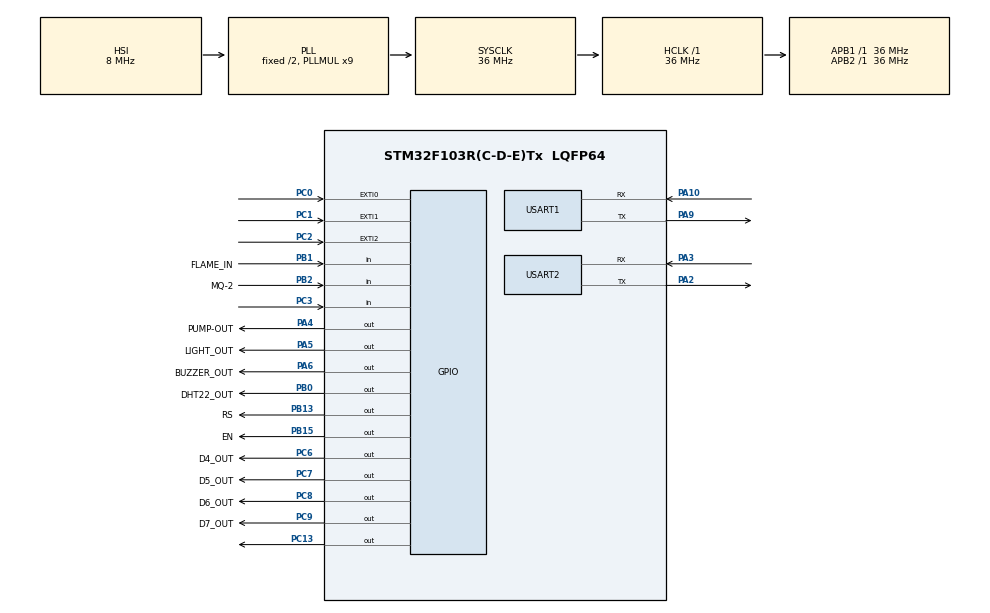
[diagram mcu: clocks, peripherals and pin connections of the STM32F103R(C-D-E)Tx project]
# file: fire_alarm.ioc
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Mcu.Family=STM32F1
Mcu.Name=STM32F103R(C-D-E)Tx
Mcu.Package=LQFP64
NVIC.EXTI0_IRQn=true\:0\:2\:false\:false\:true\:true\:true\:true
NVIC.EXTI1_IRQn=true\:0\:1\:false\:false\:true\:true\:true\:true
NVIC.EXTI2_IRQn=true\:0\:0\:false\:false\:true\:true\:true\:true
NVIC.PriorityGroup=NVIC_PRIORITYGROUP_2
NVIC.TIM4_IRQn=true\:3\:0\:true\:false\:true\:false\:true\:true
NVIC.TimeBase=TIM4_IRQn
NVIC.TimeBaseIP=TIM4
NVIC.USART1_IRQn=true\:0\:0\:false\:false\:true\:true\:true\:true
NVIC.USART2_IRQn=true\:0\:0\:false\:false\:true\:true\:true\:true
PA10.Mode=Asynchronous
PA10.Signal=USART1_RX
PA13.Mode=Serial_Wire
PA13.Signal=SYS_JTMS-SWDIO
PA14.Mode=Serial_Wire
PA14.Signal=SYS_JTCK-SWCLK
PA2.Mode=Asynchronous
PA2.Signal=USART2_TX
PA3.Mode=Asynchronous
PA3.Signal=USART2_RX
PA4.GPIO_Label=PUMP-OUT
PA4.PinState=GPIO_PIN_SET
PA4.Signal=GPIO_Output
PA5.GPIO_Label=LIGHT_OUT
PA5.Signal=GPIO_Output
PA6.GPIO_Label=BUZZER_OUT
PA6.Signal=GPIO_Output
PA9.Mode=Asynchronous
PA9.Signal=USART1_TX
PB0.GPIO_Label=DHT22_OUT
PB0.Signal=GPIO_Output
PB1.GPIO_Label=FLAME_IN
PB1.GPIO_PuPd=GPIO_PULLUP
PB1.Signal=GPIO_Input
PB13.GPIO_Label=RS
PB13.Signal=GPIO_Output
PB15.GPIO_Label=EN
PB15.Signal=GPIO_Output
PB2.GPIO_Label=MQ-2
PB2.GPIO_PuPd=GPIO_PULLUP
PB2.Signal=GPIO_Input
PC0.GPIO_ModeDefaultEXTI=GPIO_MODE_IT_FALLING
PC0.GPIO_PuPd=GPIO_PULLUP
PC0.Signal=GPXTI0
PC1.GPIO_ModeDefaultEXTI=GPIO_MODE_IT_FALLING
PC1.GPIO_PuPd=GPIO_PULLUP
PC1.Signal=GPXTI1
PC13-TAMPER-RTC.Signal=GPIO_Output
PC2.GPIO_ModeDefaultEXTI=GPIO_MODE_IT_FALLING
PC2.GPIO_PuPd=GPIO_PULLUP
PC2.Signal=GPXTI2
PC3.GPIO_PuPd=GPIO_PULLUP
PC3.Signal=GPIO_Input
PC6.GPIO_Label=D4_OUT
PC6.Signal=GPIO_Output
PC7.GPIO_Label=D5_OUT
PC7.Signal=GPIO_Output
PC8.GPIO_Label=D6_OUT
PC8.Signal=GPIO_Output
PC9.GPIO_Label=D7_OUT
PC9.Signal=GPIO_Output
PD0-OSC_IN.Mode=HSE-External-Oscillator
PD0-OSC_IN.Signal=RCC_OSC_IN
PD1-OSC_OUT.Mode=HSE-External-Oscillator
PD1-OSC_OUT.Signal=RCC_OSC_OUT
ProjectManager.HeapSize=0x200
ProjectManager.StackSize=0x400
ProjectManager.TargetToolchain=STM32CubeIDE
RCC.AHBFreq_Value=36000000
RCC.APB1Freq_Value=36000000
RCC.APB1TimFreq_Value=36000000
RCC.APB2Freq_Value=36000000
RCC.APB2TimFreq_Value=36000000
RCC.HCLKFreq_Value=36000000
RCC.PLLMUL=RCC_PLL_MUL9
RCC.SYSCLKFreq_VALUE=36000000
RCC.SYSCLKSource=RCC_SYSCLKSOURCE_PLLCLK
RCC.USBFreq_Value=36000000
TIM1.Period=0xffff-1
TIM1.Prescaler=36-1
TIM2.Period=0xffff-1
TIM2.Prescaler=3600-1
USART1.VirtualMode=VM_ASYNC
USART2.VirtualMode=VM_ASYNC
VP_SYS_VS_tim4.Mode=TIM4
VP_TIM1_VS_ClockSourceINT.Mode=Internal
VP_TIM2_VS_ClockSourceINT.Mode=Internal
board=custom

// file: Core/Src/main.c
/* USER CODE BEGIN Header */
/**
  ******************************************************************************
  * @file           : main.c
  * @brief          : Main program body
  ******************************************************************************
  * @attention
  *
  * Copyright (c) 2025 STMicroelectronics.
  * All rights reserved.
  *
  * This software is licensed under terms that can be found in the LICENSE file
  * in the root directory of this software component.
  * If no LICENSE file comes with this software, it is provided AS-IS.
  *
  ******************************************************************************
  */
/* USER CODE END Header */
#include "main.h"

TIM_HandleTypeDef htim1;
TIM_HandleTypeDef htim2;

UART_HandleTypeDef huart1;
UART_HandleTypeDef huart2;

/* USER CODE BEGIN PV */
extern Lcd_HandleTypeDef lcd;
/* USER CODE END PV */

void SystemClock_Config(void);
static void MX_GPIO_Init(void);
static void MX_TIM1_Init(void);
static void MX_TIM2_Init(void);
static void MX_USART1_UART_Init(void);
static void MX_USART2_UART_Init(void);

int main(void)
{

  /* MCU Configuration--------------------------------------------------------*/

  /* Reset of all peripherals, Initializes the Flash interface and the Systick. */
  HAL_Init();

  /* Configure the system clock */
  SystemClock_Config();

  /* Initialize all configured peripherals */
  MX_GPIO_Init();
  MX_TIM1_Init();
  MX_TIM2_Init();
  MX_USART1_UART_Init();
  MX_USART2_UART_Init();
  /* USER CODE BEGIN 2 */
	Delay_Init(&htim1, &htim2);
	flame_Init(GPIOB, GPIO_PIN_1);
	mq2_Init(GPIOB, GPIO_PIN_2);
	DHT22_GetData(&Temperature, &Humidity);
	Lcd_PortType ports[] = { GPIOC, GPIOC, GPIOC, GPIOC }; //Lcd_PinType pins[] = {D4_Pin, D5_Pin, D6_Pin, D7_Pin};
	Lcd_PinType pins[] = { GPIO_PIN_6, GPIO_PIN_7, GPIO_PIN_8, GPIO_PIN_9 };
	lcd = Lcd_create(ports, pins, GPIOB, GPIO_PIN_13, GPIOB, GPIO_PIN_15,
			LCD_4_BIT_MODE); //Lcd_create(ports, pins, RS_GPIO_Port, RS_Pin, EN_GPIO_Port, EN_Pin, LCD_4_BIT_MODE);
	int simcheck = SIM_Check(&huart1);
	uint8_t status = 0;
	uint8_t status_1 = 0;
  /* USER CODE END 2 */

  /* Infinite loop */
  while (1)
  {

    /* USER CODE BEGIN 3 */
		DHT22_GetData(&Temperature, &Humidity);
		switch (status) {
		case 0:
			// Function 1: display temp&&humid and sim_connect
			Display_Temp(Temperature);
			Display_Rh(Humidity);
			Display_Sim(simcheck);
		case 1:
			// Function 2: display lcd warning
			Lcd_warning(Temperature, &status, &status_1);
			break;
		}
		HAL_GPIO_TogglePin(GPIOC, GPIO_PIN_13);
		HAL_Delay(1000);
  }
  /* USER CODE END 3 */
}

void SystemClock_Config(void)
{
  RCC_OscInitTypeDef RCC_OscInitStruct = {0};
  RCC_ClkInitTypeDef RCC_ClkInitStruct = {0};

  /** Initializes the RCC Oscillators according to the specified parameters
  * in the RCC_OscInitTypeDef structure.
  */
  RCC_OscInitStruct.OscillatorType = RCC_OSCILLATORTYPE_HSI;
  RCC_OscInitStruct.HSIState = RCC_HSI_ON;
  RCC_OscInitStruct.HSICalibrationValue = RCC_HSICALIBRATION_DEFAULT;
  RCC_OscInitStruct.PLL.PLLState = RCC_PLL_ON;
  RCC_OscInitStruct.PLL.PLLSource = RCC_PLLSOURCE_HSI_DIV2;
  RCC_OscInitStruct.PLL.PLLMUL = RCC_PLL_MUL9;
  if (HAL_RCC_OscConfig(&RCC_OscInitStruct) != HAL_OK)
  {
    Error_Handler();
  }

  /** Initializes the CPU, AHB and APB buses clocks
  */
  RCC_ClkInitStruct.ClockType = RCC_CLOCKTYPE_HCLK|RCC_CLOCKTYPE_SYSCLK
                              |RCC_CLOCKTYPE_PCLK1|RCC_CLOCKTYPE_PCLK2;
  RCC_ClkInitStruct.SYSCLKSource = RCC_SYSCLKSOURCE_PLLCLK;
  RCC_ClkInitStruct.AHBCLKDivider = RCC_SYSCLK_DIV1;
  RCC_ClkInitStruct.APB1CLKDivider = RCC_HCLK_DIV1;
  RCC_ClkInitStruct.APB2CLKDivider = RCC_HCLK_DIV1;

  if (HAL_RCC_ClockConfig(&RCC_ClkInitStruct, FLASH_LATENCY_1) != HAL_OK)
  {
    Error_Handler();
  }
}

static void MX_TIM1_Init(void)
{

  TIM_ClockConfigTypeDef sClockSourceConfig = {0};
  TIM_MasterConfigTypeDef sMasterConfig = {0};

  htim1.Instance = TIM1;
  htim1.Init.Prescaler = 36-1;
  htim1.Init.CounterMode = TIM_COUNTERMODE_UP;
  htim1.Init.Period = 0xffff-1;
  htim1.Init.ClockDivision = TIM_CLOCKDIVISION_DIV1;
  htim1.Init.RepetitionCounter = 0;
  htim1.Init.AutoReloadPreload = TIM_AUTORELOAD_PRELOAD_DISABLE;
  if (HAL_TIM_Base_Init(&htim1) != HAL_OK)
  {
    Error_Handler();
  }
  sClockSourceConfig.ClockSource = TIM_CLOCKSOURCE_INTERNAL;
  if (HAL_TIM_ConfigClockSource(&htim1, &sClockSourceConfig) != HAL_OK)
  {
    Error_Handler();
  }
  sMasterConfig.MasterOutputTrigger = TIM_TRGO_RESET;
  sMasterConfig.MasterSlaveMode = TIM_MASTERSLAVEMODE_DISABLE;
  if (HAL_TIMEx_MasterConfigSynchronization(&htim1, &sMasterConfig) != HAL_OK)
  {
    Error_Handler();
  }

}

static void MX_TIM2_Init(void)
{

  TIM_ClockConfigTypeDef sClockSourceConfig = {0};
  TIM_MasterConfigTypeDef sMasterConfig = {0};

  htim2.Instance = TIM2;
  htim2.Init.Prescaler = 3600-1;
  htim2.Init.CounterMode = TIM_COUNTERMODE_UP;
  htim2.Init.Period = 0xffff-1;
  htim2.Init.ClockDivision = TIM_CLOCKDIVISION_DIV1;
  htim2.Init.AutoReloadPreload = TIM_AUTORELOAD_PRELOAD_DISABLE;
  if (HAL_TIM_Base_Init(&htim2) != HAL_OK)
  {
    Error_Handler();
  }
  sClockSourceConfig.ClockSource = TIM_CLOCKSOURCE_INTERNAL;
  if (HAL_TIM_ConfigClockSource(&htim2, &sClockSourceConfig) != HAL_OK)
  {
    Error_Handler();
  }
  sMasterConfig.MasterOutputTrigger = TIM_TRGO_RESET;
  sMasterConfig.MasterSlaveMode = TIM_MASTERSLAVEMODE_DISABLE;
  if (HAL_TIMEx_MasterConfigSynchronization(&htim2, &sMasterConfig) != HAL_OK)
  {
    Error_Handler();
  }

}

static void MX_USART1_UART_Init(void)
{

  huart1.Instance = USART1;
  huart1.Init.BaudRate = 115200;
  huart1.Init.WordLength = UART_WORDLENGTH_8B;
  huart1.Init.StopBits = UART_STOPBITS_1;
  huart1.Init.Parity = UART_PARITY_NONE;
  huart1.Init.Mode = UART_MODE_TX_RX;
  huart1.Init.HwFlowCtl = UART_HWCONTROL_NONE;
  huart1.Init.OverSampling = UART_OVERSAMPLING_16;
  if (HAL_UART_Init(&huart1) != HAL_OK)
  {
    Error_Handler();
  }

}

static void MX_USART2_UART_Init(void)
{

  huart2.Instance = USART2;
  huart2.Init.BaudRate = 115200;
  huart2.Init.WordLength = UART_WORDLENGTH_8B;
  huart2.Init.StopBits = UART_STOPBITS_1;
  huart2.Init.Parity = UART_PARITY_NONE;
  huart2.Init.Mode = UART_MODE_TX_RX;
  huart2.Init.HwFlowCtl = UART_HWCONTROL_NONE;
  huart2.Init.OverSampling = UART_OVERSAMPLING_16;
  if (HAL_UART_Init(&huart2) != HAL_OK)
  {
    Error_Handler();
  }

}

static void MX_GPIO_Init(void)
{
  GPIO_InitTypeDef GPIO_InitStruct = {0};

  /* GPIO Ports Clock Enable */
  __HAL_RCC_GPIOC_CLK_ENABLE();
  __HAL_RCC_GPIOD_CLK_ENABLE();
  __HAL_RCC_GPIOA_CLK_ENABLE();
  __HAL_RCC_GPIOB_CLK_ENABLE();

  /*Configure GPIO pin Output Level */
  HAL_GPIO_WritePin(GPIOC, GPIO_PIN_13|D4_OUT_Pin|D5_OUT_Pin|D6_OUT_Pin
                          |D7_OUT_Pin, GPIO_PIN_RESET);

  /*Configure GPIO pin Output Level */
  HAL_GPIO_WritePin(PUMP_OUT_GPIO_Port, PUMP_OUT_Pin, GPIO_PIN_SET);

  /*Configure GPIO pin Output Level */
  HAL_GPIO_WritePin(GPIOA, LIGHT_OUT_Pin|BUZZER_OUT_Pin, GPIO_PIN_RESET);

  /*Configure GPIO pin Output Level */
  HAL_GPIO_WritePin(GPIOB, DHT22_OUT_Pin|RS_Pin|EN_Pin, GPIO_PIN_RESET);

  /*Configure GPIO pins : PC13 D4_OUT_Pin D5_OUT_Pin D6_OUT_Pin
                           D7_OUT_Pin */
  GPIO_InitStruct.Pin = GPIO_PIN_13|D4_OUT_Pin|D5_OUT_Pin|D6_OUT_Pin
                          |D7_OUT_Pin;
  GPIO_InitStruct.Mode = GPIO_MODE_OUTPUT_PP;
  GPIO_InitStruct.Pull = GPIO_NOPULL;
  GPIO_InitStruct.Speed = GPIO_SPEED_FREQ_LOW;
  HAL_GPIO_Init(GPIOC, &GPIO_InitStruct);

  /*Configure GPIO pins : PC0 PC1 PC2 */
  GPIO_InitStruct.Pin = GPIO_PIN_0|GPIO_PIN_1|GPIO_PIN_2;
  GPIO_InitStruct.Mode = GPIO_MODE_IT_FALLING;
  GPIO_InitStruct.Pull = GPIO_PULLUP;
  HAL_GPIO_Init(GPIOC, &GPIO_InitStruct);

  /*Configure GPIO pin : PC3 */
  GPIO_InitStruct.Pin = GPIO_PIN_3;
  GPIO_InitStruct.Mode = GPIO_MODE_INPUT;
  GPIO_InitStruct.Pull = GPIO_PULLUP;
  HAL_GPIO_Init(GPIOC, &GPIO_InitStruct);

  /*Configure GPIO pins : PUMP_OUT_Pin LIGHT_OUT_Pin BUZZER_OUT_Pin */
  GPIO_InitStruct.Pin = PUMP_OUT_Pin|LIGHT_OUT_Pin|BUZZER_OUT_Pin;
  GPIO_InitStruct.Mode = GPIO_MODE_OUTPUT_PP;
  GPIO_InitStruct.Pull = GPIO_NOPULL;
  GPIO_InitStruct.Speed = GPIO_SPEED_FREQ_LOW;
  HAL_GPIO_Init(GPIOA, &GPIO_InitStruct);

  /*Configure GPIO pins : DHT22_OUT_Pin RS_Pin EN_Pin */
  GPIO_InitStruct.Pin = DHT22_OUT_Pin|RS_Pin|EN_Pin;
  GPIO_InitStruct.Mode = GPIO_MODE_OUTPUT_PP;
  GPIO_InitStruct.Pull = GPIO_NOPULL;
  GPIO_InitStruct.Speed = GPIO_SPEED_FREQ_LOW;
  HAL_GPIO_Init(GPIOB, &GPIO_InitStruct);

  /*Configure GPIO pins : FLAME_IN_Pin MQ_2_Pin */
  GPIO_InitStruct.Pin = FLAME_IN_Pin|MQ_2_Pin;
  GPIO_InitStruct.Mode = GPIO_MODE_INPUT;
  GPIO_InitStruct.Pull = GPIO_PULLUP;
  HAL_GPIO_Init(GPIOB, &GPIO_InitStruct);

  /* EXTI interrupt init*/
  HAL_NVIC_SetPriority(EXTI0_IRQn, 0, 2);
  HAL_NVIC_EnableIRQ(EXTI0_IRQn);

  HAL_NVIC_SetPriority(EXTI1_IRQn, 0, 1);
  HAL_NVIC_EnableIRQ(EXTI1_IRQn);

  HAL_NVIC_SetPriority(EXTI2_IRQn, 0, 0);
  HAL_NVIC_EnableIRQ(EXTI2_IRQn);

}

void HAL_TIM_PeriodElapsedCallback(TIM_HandleTypeDef *htim)
{
  if (htim->Instance == TIM4) {
    HAL_IncTick();
  }
}

void Error_Handler(void)
{
  __disable_irq();
  while (1)
  {
  }
}
